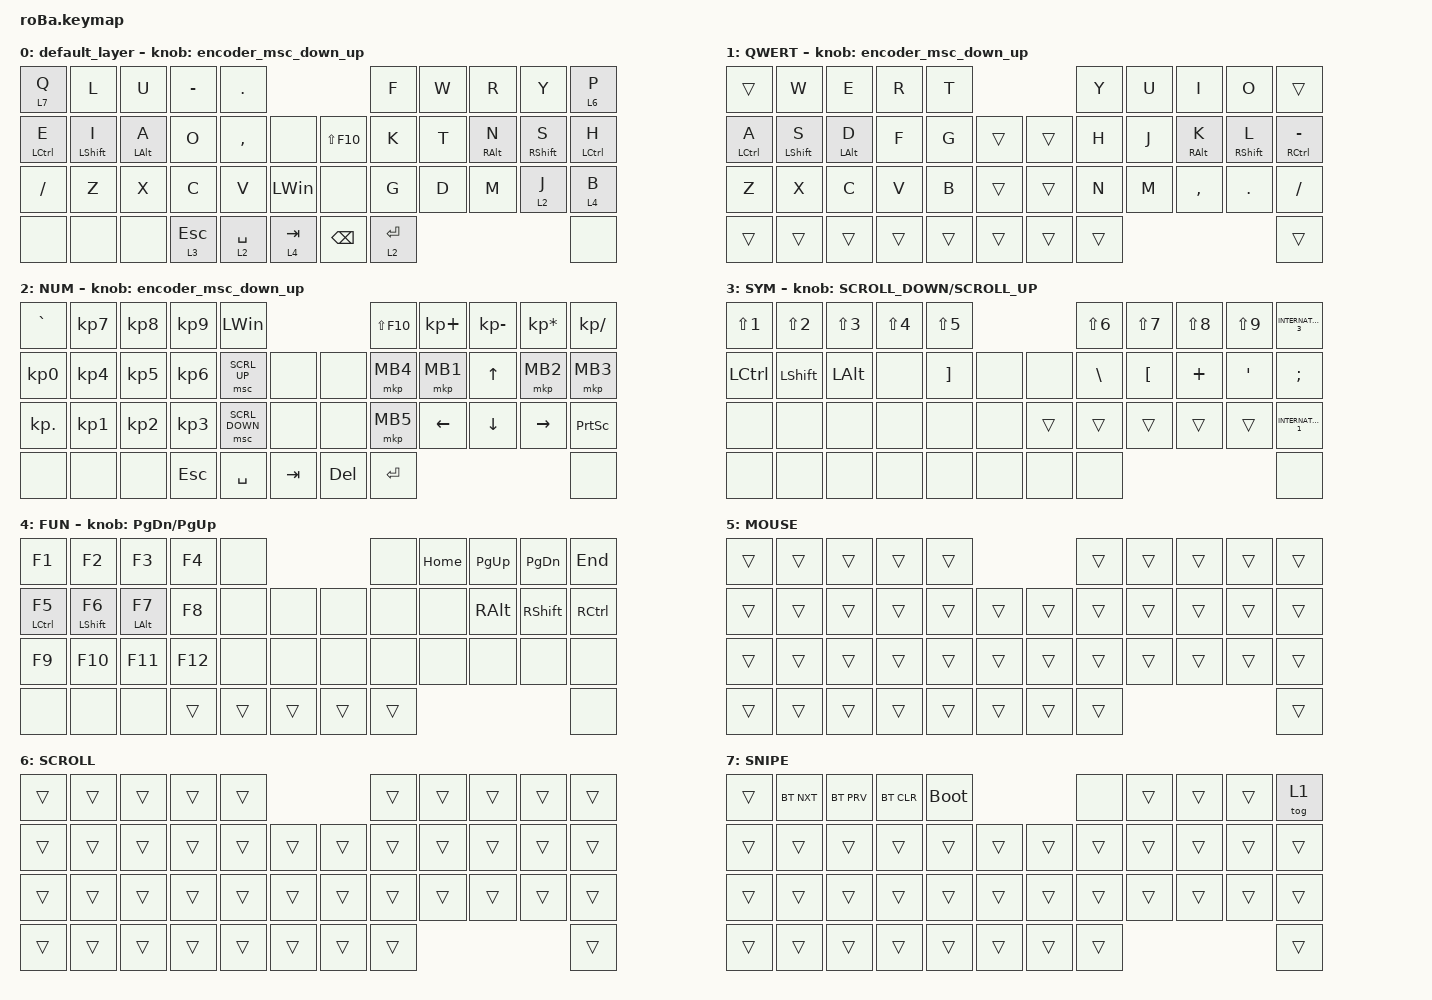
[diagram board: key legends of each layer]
#include <behaviors.dtsi>
#include <dt-bindings/zmk/bt.h>
#include <dt-bindings/zmk/keys.h>
#include <dt-bindings/zmk/pointing.h>

#define ZMK_POINTING_DEFAULT_SCRL_VAL 80

&mt {
    flavor = "balanced";
    quick-tap-ms = <0>;
};

&trackball {
    /* automouse-layer = <3>; */

    scroll-layers = <4>;

    // arrows {
    //     layers = <3>;
    //     bindings =
    //         <&kp RIGHT_ARROW>,
    //         <&kp LEFT_ARROW>,
    //         <&kp UP_ARROW>,
    //         <&kp DOWN_ARROW>;
    //     tick = <10>;
    //     wait-ms = <5>;
    //     tap-ms = <5>;
    // };
};

/ {
    combos {
        compatible = "zmk,combos";

        tab {
            bindings = <&kp TAB>;
            key-positions = <11 12>;
        };

        shift_tab {
            bindings = <&kp LS(TAB)>;
            key-positions = <12 13>;
        };

        muhennkann {
            bindings = <&to_layer_0 INT_MUHENKAN>;
            key-positions = <11 10>;
        };

        double_quotation {
            bindings = <&kp DOUBLE_QUOTES>;
            key-positions = <20 21>;
        };

        eq {
            bindings = <&kp EQUAL>;
            key-positions = <24 25>;
        };
    };

    macros {
        to_layer_0: to_layer_0 {
            compatible = "zmk,behavior-macro-one-param";
            #binding-cells = <1>;
            bindings = <&to 0 &macro_param_1to1 &kp MACRO_PLACEHOLDER>;
            label = "TO_LAYER_0";
        };
    };

    behaviors {
        lt_to_layer_0: lt_to_layer_0 {
            compatible = "zmk,behavior-hold-tap";
            label = "LAYER_TAP_TO_0";
            bindings = <&mo>, <&to_layer_0>;

            #binding-cells = <2>;
            tapping-term-ms = <200>;
        };

        encoder_msc_down_up: encoder_msc_down_up {
            compatible = "zmk,behavior-sensor-rotate";
            label = "ENCODER_MSC_DOWN_UP";
            #sensor-binding-cells = <0>;
            bindings = <&msc SCRL_DOWN>, <&msc SCRL_UP>;

            tap-ms = <20>;
        };
    };

    keymap {
        compatible = "zmk,keymap";

        default_layer {
            bindings = <
&lt 7 Q      &kp L             &kp U           &kp MINUS  &kp PERIOD                                    &kp F        &kp W  &kp R            &kp Y              &lt 6 P
&mt LCTRL E  &mt LEFT_SHIFT I  &mt LEFT_ALT A  &kp O      &kp COMMA    &none             &kp LS(F10)    &kp K        &kp T  &mt RIGHT_ALT N  &mt RIGHT_SHIFT S  &mt LCTRL H
&kp SLASH    &kp Z             &kp X           &kp C      &kp V        &kp LEFT_WIN      &none          &kp G        &kp D  &kp M            &lt 2 J            &lt 4 B
&none        &none             &none           &lt 3 ESC  &lt 2 SPACE  &lt 4 TAB         &kp BACKSPACE  &lt 2 ENTER                                             &none
            >;

            sensor-bindings = <&encoder_msc_down_up>;
        };

        QWERT {
            bindings = <
&trans       &kp W             &kp E           &kp R   &kp T                       &kp Y   &kp U  &kp I            &kp O              &trans
&mt LCTRL A  &mt LEFT_SHIFT S  &mt LEFT_ALT D  &kp F   &kp G   &trans      &trans  &kp H   &kp J  &mt RIGHT_ALT K  &mt RIGHT_SHIFT L  &mt RCTRL MINUS
&kp Z        &kp X             &kp C           &kp V   &kp B   &trans      &trans  &kp N   &kp M  &kp COMMA        &kp PERIOD         &kp SLASH
&trans       &trans            &trans          &trans  &trans  &trans      &trans  &trans                                             &trans
            >;

            sensor-bindings = <&encoder_msc_down_up>;
        };

        NUM {
            bindings = <
&kp GRAVE        &kp KP_NUMBER_7  &kp KP_NUMBER_8  &kp KP_NUMBER_9  &kp LEFT_WIN                             &kp LS(F10)  &kp KP_PLUS     &kp KP_MINUS    &kp KP_MULTIPLY  &kp KP_SLASH
&kp KP_NUMBER_0  &kp KP_NUMBER_4  &kp KP_NUMBER_5  &kp KP_NUMBER_6  &msc SCRL_UP    &none        &none       &mkp MB4     &mkp MB1        &kp UP_ARROW    &mkp MB2         &mkp MB3
&kp KP_DOT       &kp KP_NUMBER_1  &kp KP_NUMBER_2  &kp KP_NUMBER_3  &msc SCRL_DOWN  &none        &none       &mkp MB5     &kp LEFT_ARROW  &kp DOWN_ARROW  &kp RIGHT_ARROW  &kp PRINTSCREEN
&none            &none            &none            &kp ESC          &kp SPACE       &kp TAB      &kp DELETE  &kp ENTER                                                     &none
            >;

            sensor-bindings = <&encoder_msc_down_up>;
        };

        SYM {
            bindings = <
&kp LS(NUMBER_1)  &kp LS(NUMBER_2)  &kp LS(NUMBER_3)  &kp LS(NUMBER_4)  &kp LS(N5)                            &kp LS(NUMBER_6)  &kp LS(N7)        &kp LS(N8)  &kp LS(N9)        &kp INTERNATIONAL_3
&kp LCTRL         &kp LEFT_SHIFT    &kp LEFT_ALT      &none             &kp RIGHT_BRACKET  &none      &none   &kp BACKSLASH     &kp LEFT_BRACKET  &kp PLUS    &kp SINGLE_QUOTE  &kp SEMI
&none             &none             &none             &none             &none              &none      &trans  &trans            &trans            &trans      &trans            &kp INTERNATIONAL_1
&none             &none             &none             &none             &none              &none      &none   &none                                                             &none
            >;

            sensor-bindings = <&inc_dec_kp K_SCROLL_DOWN K_SCROLL_UP>;
        };

        FUN {
            bindings = <
&kp F1        &kp F2             &kp F3           &kp F4   &none                       &none   &kp HOME  &kp PAGE_UP    &kp PAGE_DOWN    &kp END
&mt LCTRL F5  &mt LEFT_SHIFT F6  &mt LEFT_ALT F7  &kp F8   &none   &none       &none   &none   &none     &kp RIGHT_ALT  &kp RIGHT_SHIFT  &kp RCTRL
&kp F9        &kp F10            &kp F11          &kp F12  &none   &none       &none   &none   &none     &none          &none            &none
&none         &none              &none            &trans   &trans  &trans      &trans  &trans                                            &none
            >;

            sensor-bindings = <&inc_dec_kp PAGE_DOWN PAGE_UP>;
        };

        MOUSE {
            bindings = <
&trans  &trans  &trans  &trans  &trans                      &trans  &trans  &trans  &trans  &trans
&trans  &trans  &trans  &trans  &trans  &trans      &trans  &trans  &trans  &trans  &trans  &trans
&trans  &trans  &trans  &trans  &trans  &trans      &trans  &trans  &trans  &trans  &trans  &trans
&trans  &trans  &trans  &trans  &trans  &trans      &trans  &trans                          &trans
            >;
        };

        SCROLL {
            bindings = <
&trans  &trans  &trans  &trans  &trans                      &trans  &trans  &trans  &trans  &trans
&trans  &trans  &trans  &trans  &trans  &trans      &trans  &trans  &trans  &trans  &trans  &trans
&trans  &trans  &trans  &trans  &trans  &trans      &trans  &trans  &trans  &trans  &trans  &trans
&trans  &trans  &trans  &trans  &trans  &trans      &trans  &trans                          &trans
            >;
        };

        SNIPE {
            bindings = <
&trans  &bt BT_NXT  &bt BT_PRV  &bt BT_CLR  &bootloader                      &none   &trans  &trans  &trans  &tog 1
&trans  &trans      &trans      &trans      &trans       &trans      &trans  &trans  &trans  &trans  &trans  &trans
&trans  &trans      &trans      &trans      &trans       &trans      &trans  &trans  &trans  &trans  &trans  &trans
&trans  &trans      &trans      &trans      &trans       &trans      &trans  &trans                          &trans
            >;
        };
    };
};
